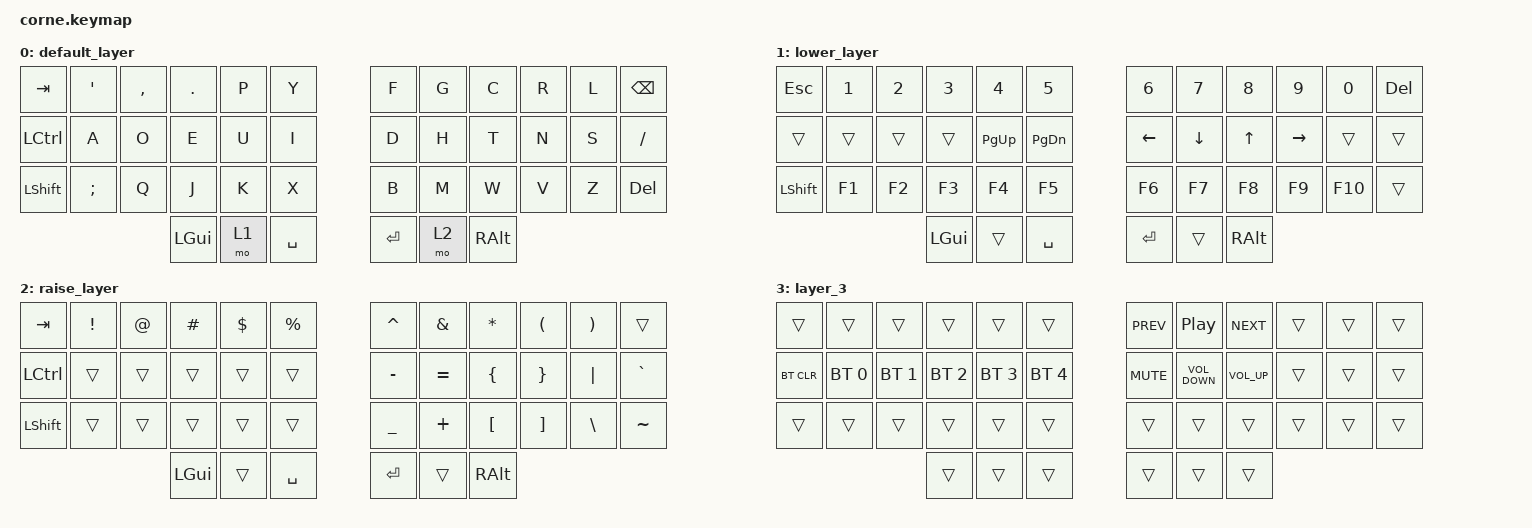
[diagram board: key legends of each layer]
/*
 * Copyright (c) 2020 The ZMK Contributors
 *
 * SPDX-License-Identifier: MIT
 */

#include <behaviors.dtsi>
#include <dt-bindings/zmk/bt.h>
#include <dt-bindings/zmk/keys.h>

/ {
    keymap {
        compatible = "zmk,keymap";

        default_layer {
            // -----------------------------------------------------------------------------------------
            // |  TAB |  Q  |  W  |  E  |  R  |  T  |   |  Y  |  U   |  I  |  O  |  P  | BKSP |
            // | CTRL |  A  |  S  |  D  |  F  |  G  |   |  H  |  J   |  K  |  L  |  ;  |  '   |
            // | SHFT |  Z  |  X  |  C  |  V  |  B  |   |  N  |  M   |  ,  |  .  |  /  | ESC  |
            //                    | GUI | LWR | SPC |   | ENT | RSE  | ALT |

            bindings = <
&kp TAB    &kp APOSTROPHE  &kp COMMA  &kp DOT   &kp P  &kp Y        &kp F    &kp G  &kp C     &kp R  &kp L  &kp BSPC
&kp LCTRL  &kp A           &kp O      &kp E     &kp U  &kp I        &kp D    &kp H  &kp T     &kp N  &kp S  &kp SLASH
&kp LSHFT  &kp SEMI        &kp Q      &kp J     &kp K  &kp X        &kp B    &kp M  &kp W     &kp V  &kp Z  &kp DELETE
                                      &kp LGUI  &mo 1  &kp SPACE    &kp RET  &mo 2  &kp RALT
            >;
        };

        lower_layer {
            // -----------------------------------------------------------------------------------------
            // |  TAB |  1  |  2  |  3  |  4  |  5  |   |  6  |  7  |  8  |  9  |  0  | BKSP |
            // | BTCLR| BT1 | BT2 | BT3 | BT4 | BT5 |   | LFT | DWN |  UP | RGT |     |      |
            // | SHFT |     |     |     |     |     |   |     |     |     |     |     |      |
            //                    | GUI |     | SPC |   | ENT |     | ALT |

            bindings = <
&kp ESCAPE  &kp N1  &kp N2  &kp N3    &kp N4       &kp N5           &kp N6    &kp N7    &kp N8    &kp N9     &kp N0   &kp DELETE
&trans      &trans  &trans  &trans    &kp PAGE_UP  &kp PAGE_DOWN    &kp LEFT  &kp DOWN  &kp UP    &kp RIGHT  &trans   &trans
&kp LSHFT   &kp F1  &kp F2  &kp F3    &kp F4       &kp F5           &kp F6    &kp F7    &kp F8    &kp F9     &kp F10  &trans
                            &kp LGUI  &trans       &kp SPACE        &kp RET   &trans    &kp RALT
            >;
        };

        raise_layer {
            // -----------------------------------------------------------------------------------------
            // |  TAB |  !  |  @  |  #  |  $  |  %  |   |  ^  |  &  |  *  |  (  |  )  | BKSP |
            // | CTRL |     |     |     |     |     |   |  -  |  =  |  [  |  ]  |  \  |  `   |
            // | SHFT |     |     |     |     |     |   |  _  |  +  |  {  |  }  | "|" |  ~   |
            //                    | GUI |     | SPC |   | ENT |     | ALT |

            bindings = <
&kp TAB    &kp EXCL  &kp AT  &kp HASH  &kp DLLR  &kp PRCNT    &kp CARET  &kp AMPS   &kp ASTRK         &kp LPAR           &kp RPAR       &trans
&kp LCTRL  &trans    &trans  &trans    &trans    &trans       &kp MINUS  &kp EQUAL  &kp LEFT_BRACE    &kp RIGHT_BRACE    &kp PIPE       &kp GRAVE
&kp LSHFT  &trans    &trans  &trans    &trans    &trans       &kp UNDER  &kp PLUS   &kp LEFT_BRACKET  &kp RIGHT_BRACKET  &kp BACKSLASH  &kp TILDE
                             &kp LGUI  &trans    &kp SPACE    &kp RET    &trans     &kp RALT
            >;
        };

        layer_3 {
            bindings = <
&trans      &trans        &trans        &trans        &trans        &trans          &kp C_PREV  &kp C_PLAY_PAUSE   &kp C_NEXT       &trans  &trans  &trans
&bt BT_CLR  &bt BT_SEL 0  &bt BT_SEL 1  &bt BT_SEL 2  &bt BT_SEL 3  &bt BT_SEL 4    &kp C_MUTE  &kp C_VOLUME_DOWN  &kp C_VOLUME_UP  &trans  &trans  &trans
&trans      &trans        &trans        &trans        &trans        &trans          &trans      &trans             &trans           &trans  &trans  &trans
                                        &trans        &trans        &trans          &trans      &trans             &trans
            >;
        };
    };

    conditional_layers {
        compatible = "zmk,conditional-layers";

        system {
            if-layers = <1 2>;
            then-layer = <3>;
        };
    };
};
